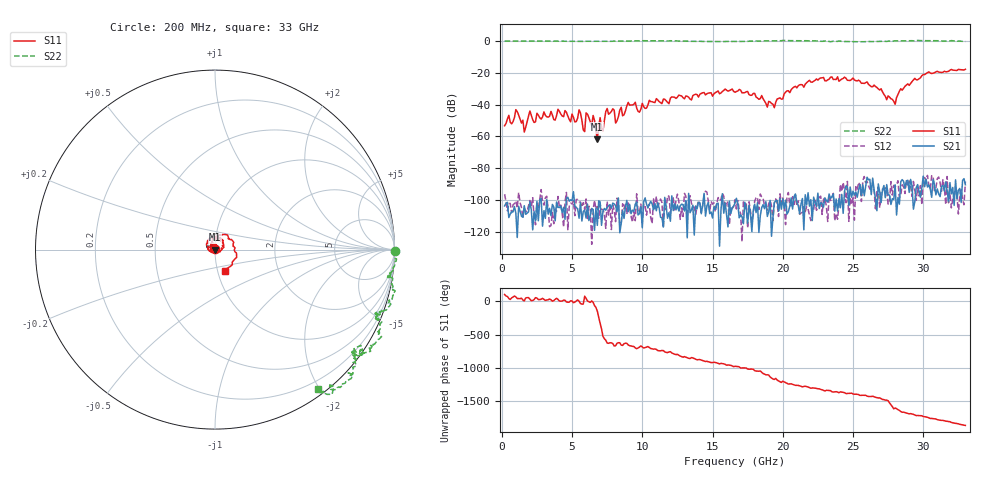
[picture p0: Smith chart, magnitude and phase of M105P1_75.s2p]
# GHZ S RI R 50
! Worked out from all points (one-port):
!   329 points, 200 MHz to 33 GHz, reference 50 ohm
!   lowest |S11| = -61.8 dB at 6.8 GHz (marker M1), VSWR 1.00, Z = 49.9 - j0.0418 ohm
!   |S11| at or under -10 dB: start of sweep to end of sweep
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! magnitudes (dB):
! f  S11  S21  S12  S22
! 200 MHz  -53.4  -103.9  -96.5  0.0
! 1 GHz  -43.2  -108.4  -100.8  0.1
! 1.6 GHz  -57.3  -103.7  -105.4  0.0
! 2 GHz  -44.0  -101.4  -100.4  0.1
! 5.7 GHz  -49.8  -113.4  -104.6  -0.2
! 5.9 GHz  -57.0  -106.4  -106.1  -0.2
! 6 GHz  -45.3  -111.5  -99.5  -0.1
! 6.5 GHz  -46.9  -106.1  -106.3  -0.1
! 6.8 GHz  -61.8  -116.1  -104.3  -0.2
! 7 GHz  -48.2  -101.4  -102.7  -0.1
! 7.2 GHz  -56.6  -107.3  -106.1  -0.2
! 7.5 GHz  -42.5  -104.7  -101.0  -0.2
! 8.1 GHz  -51.6  -103.7  -113.8  0.0
! 9 GHz  -38.6  -107.5  -102.0  0.1
! 11.2 GHz  -38.1  -105.1  -101.8  0.2
! 16.6 GHz  -32.2  -102.1  -99.9  -0.2
! 19.4 GHz  -41.9  -101.7  -101.8  0.1
! 22.1 GHz  -25.9  -113.1  -106.1  0.2
! 25 GHz  -23.3  -94.6  -98.7  -0.4
! 27.6 GHz  -35.3  -97.1  -100.6  0.0
! 30.4 GHz  -19.4  -90.7  -91.1  0.3
! 33 GHz  -17.7  -90.5  -88.5  -0.3
